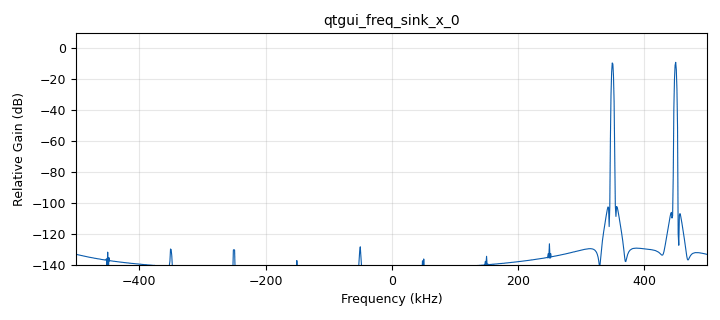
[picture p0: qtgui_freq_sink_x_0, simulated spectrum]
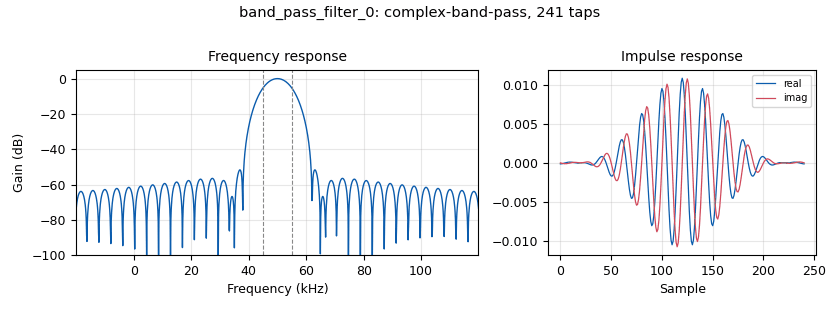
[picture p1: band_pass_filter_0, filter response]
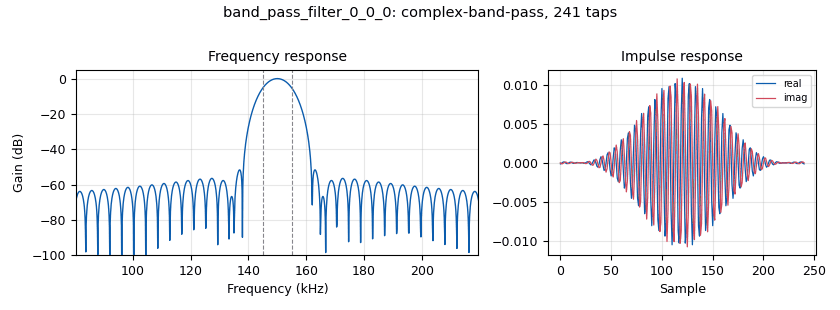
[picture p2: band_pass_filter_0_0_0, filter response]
options:
  parameters:
    generate_options: qt_gui
    id: run_double_tone_sync_test
    output_language: python
    title: Double tone phase synchronization test
  states: {}

blocks:
- name: calibrate_phase_offsets
  id: variable_qtgui_check_box
  parameters:
    'false': 'False'
    gui_hint: qtgui_tab_widget_0@0:0,0,1,1
    label: Calibrate phase offsets?
    'true': 'True'
    type: int
    value: 'True'
  states: {}
- name: center_frequency
  id: variable
  parameters:
    value: '2.45e+9'
  states: {}
- name: chan_bandwidth
  id: variable
  parameters:
    value: 200e3
  states: {}
- name: dsp_freq
  id: variable
  parameters:
    value: 550e3
  states: {}
- name: equalize_amplitudes
  id: variable_qtgui_check_box
  parameters:
    'false': 'False'
    gui_hint: qtgui_tab_widget_0@1:0,0,1,1
    label: Equalize amplitudes?
    'true': 'True'
    type: int
    value: 'False'
  states: {}
- name: master_freq
  id: variable
  parameters:
    value: 30e6
  states: {}
- name: mav_length
  id: variable
  parameters:
    value: int(1e6)
  states: {}
- name: rx_gain
  id: variable_qtgui_range
  parameters:
    orient: Qt.Horizontal
    start: '0'
    step: '1'
    stop: '76'
    value: '60'
  states: {}
- name: samp_rate
  id: variable
  parameters:
    value: int(1E+6)
  states: {}
- name: src_att
  id: variable_qtgui_range
  parameters:
    orient: Qt.Horizontal
    start: '1'
    step: '1'
    stop: '60'
    value: '20'
  states: {}
- name: target_freq
  id: variable
  parameters:
    value: 2.45e9-800e3
  states: {}
- name: tx_gain
  id: variable_qtgui_range
  parameters:
    gui_hint: qtgui_tab_widget_0@0
    orient: Qt.Horizontal
    start: '0'
    step: '0.2'
    stop: '89'
    value: '35'
  states: {}
- name: analog_const_source_x_0
  id: analog_const_source_x
  parameters:
    const: calibrate_phase_offsets
    type: byte
  states: {}
- name: analog_sig_source_x_0
  id: analog_sig_source_x
  parameters:
    amp: '1'
    freq: '350e+3'
    offset: '0'
    phase: '0'
    samp_rate: samp_rate
    type: complex
    waveform: analog.GR_COS_WAVE
  states: {}
- name: analog_sig_source_x_0_1
  id: analog_sig_source_x
  parameters:
    amp: '1'
    freq: '450e+3'
    offset: '0'
    phase: '0'
    samp_rate: samp_rate
    type: complex
    waveform: analog.GR_COS_WAVE
  states: {}
- name: aoa_calc_phase_diff_0
  id: aoa_calc_phase_diff
  parameters:
    node_idx: '1'
    norm_spacing: '0.5'
  states: {}
- name: aoa_precise_moving_average_0
  id: aoa_precise_moving_average
  parameters:
    length: mav_length
    max_iter: mav_length
  states: {}
- name: aoa_shift_phase_0
  id: aoa_shift_phase
  parameters:
    dummy_param: ''
  states: {}
- name: band_pass_filter_0
  id: band_pass_filter
  parameters:
    decim: '1'
    gain: '1'
    high_cutoff_freq: 55e3
    low_cutoff_freq: 45e3
    samp_rate: samp_rate
    type: fir_filter_ccc
    width: 10e3
    win: firdes.WIN_HAMMING
  states: {}
- name: band_pass_filter_0_0
  id: band_pass_filter
  parameters:
    decim: '1'
    gain: '1'
    high_cutoff_freq: 55e3
    low_cutoff_freq: 45e3
    samp_rate: samp_rate
    type: fir_filter_ccc
    width: 10e3
    win: firdes.WIN_HAMMING
  states: {}
- name: band_pass_filter_0_0_0
  id: band_pass_filter
  parameters:
    decim: '1'
    gain: '1'
    high_cutoff_freq: 155e3
    low_cutoff_freq: 145e3
    samp_rate: samp_rate
    type: fir_filter_ccc
    width: 10e3
    win: firdes.WIN_HAMMING
  states: {}
- name: band_pass_filter_0_0_0_0
  id: band_pass_filter
  parameters:
    decim: '1'
    gain: '1'
    high_cutoff_freq: 155e3
    low_cutoff_freq: 145e3
    samp_rate: samp_rate
    type: fir_filter_ccc
    width: 10e3
    win: firdes.WIN_HAMMING
  states: {}
- name: blocks_add_xx_0
  id: blocks_add_xx
  parameters:
    type: complex
  states: {}
- name: blocks_add_xx_1
  id: blocks_add_xx
  parameters:
    type: complex
  states: {}
- name: blocks_add_xx_1_0
  id: blocks_add_xx
  parameters:
    type: complex
  states: {}
- name: blocks_complex_to_real_0
  id: blocks_complex_to_real
  parameters: {}
  states: {}
- name: blocks_complex_to_real_0_0
  id: blocks_complex_to_real
  parameters: {}
  states: {}
- name: blocks_complex_to_real_0_0_0
  id: blocks_complex_to_real
  parameters: {}
  states: {}
- name: blocks_complex_to_real_0_2
  id: blocks_complex_to_real
  parameters: {}
  states: {}
- name: blocks_delay_0
  id: blocks_delay
  parameters:
    delay: int(samp_rate*1)
    type: complex
  states: {}
- name: blocks_null_source_0
  id: blocks_null_source
  parameters:
    type: complex
  states: {}
- name: blocks_sample_and_hold_xx_0
  id: blocks_sample_and_hold_xx
  parameters:
    type: float
  states: {}
- name: blocks_selector_0
  id: blocks_selector
  parameters:
    enabled: 'True'
    input_index: calibrate_phase_offsets
    num_inputs: '2'
    num_outputs: '1'
    output_index: '0'
    type: complex
  states: {}
- name: qtgui_freq_sink_x_0
  id: qtgui_freq_sink_x
  parameters:
    bw: samp_rate
    fc: '0'
    fftsize: '1024'
    type: complex
    wintype: firdes.WIN_BLACKMAN_hARRIS
  states: {}
- name: qtgui_freq_sink_x_1
  id: qtgui_freq_sink_x
  parameters:
    bw: samp_rate
    color1: '"green"'
    color2: '"black"'
    fc: '0'
    fftsize: '1024'
    nconnections: '2'
    type: complex
    wintype: firdes.WIN_BLACKMAN_hARRIS
  states: {}
- name: qtgui_number_sink_0
  id: qtgui_number_sink
  parameters:
    graph_type: qtgui.NUM_GRAPH_HORIZ
    gui_hint: qtgui_tab_widget_0@0:0,1,1,1
    max: '2'
    min: '-2'
    name: '"Arg corrector coeff"'
    type: float
  states: {}
- name: qtgui_tab_widget_0
  id: qtgui_tab_widget
  parameters:
    label0: Calibration
    label1: MUSIC
    num_tabs: '2'
  states: {}
- name: qtgui_time_sink_x_0
  id: qtgui_time_sink_x
  parameters:
    color1: green
    color2: black
    grid: 'True'
    gui_hint: qtgui_tab_widget_0@0:1,0,1,1
    name: '"Signals before phase correction"'
    nconnections: '2'
    size: '256'
    srate: samp_rate
    type: float
    ymax: '0.3'
    ymin: '-0.3'
  states: {}
- name: qtgui_time_sink_x_0_1
  id: qtgui_time_sink_x
  parameters:
    color1: green
    color2: black
    grid: 'True'
    gui_hint: qtgui_tab_widget_0@0:2,0,1,1
    name: '"Signals after phase correction"'
    nconnections: '2'
    size: '256'
    srate: samp_rate
    type: float
    ymax: '0.3'
    ymin: '-0.3'
  states: {}
- name: qtgui_time_sink_x_2
  id: qtgui_time_sink_x
  parameters:
    grid: 'True'
    gui_hint: qtgui_tab_widget_0@0:1,1,1,1
    name: '"Phase shift coeff"'
    size: '1024'
    srate: samp_rate
    type: float
    ymax: '2.0'
    ymin: '1.8'
  states: {}
- name: qtgui_waterfall_sink_x_0
  id: qtgui_waterfall_sink_x
  parameters:
    bw: samp_rate
    fc: center_frequency
    fftsize: '1024'
    gui_hint: qtgui_tab_widget_0@0:2,1,1,1
    nconnections: '2'
    type: complex
    wintype: firdes.WIN_BLACKMAN_hARRIS
  states: {}
- name: uhd_usrp_sink_0
  id: uhd_usrp_sink
  parameters:
    ant0: TX/RX
    ant1: TX/RX
    bw0: chan_bandwidth
    bw1: chan_bandwidth
    center_freq0: ' uhd.tune_request(target_freq, dsp_freq, dsp_freq_policy=uhd.tune_request.POLICY_MANUAL)'
    center_freq1: ' uhd.tune_request(target_freq, dsp_freq, dsp_freq_policy=uhd.tune_request.POLICY_MANUAL)'
    clock_source0: internal
    dev_args: '"master_clock_rate= %f" % master_freq'
    gain0: tx_gain
    gain1: tx_gain
    len_tag_name: ''
    nchan: '2'
    norm_gain0: 'False'
    norm_gain1: 'False'
    otw: sc16
    samp_rate: samp_rate
    sync: pc_clock
    type: fc32
  states: {}
- name: uhd_usrp_source_0
  id: uhd_usrp_source
  parameters:
    ant0: RX2
    ant1: RX2
    bw0: samp_rate
    bw1: samp_rate
    center_freq0: center_frequency
    center_freq1: center_frequency
    clock_source0: internal
    dc_offs_enb0: 'True'
    dc_offs_enb1: 'True'
    dev_args: '"master_clock_rate= %f" % master_freq'
    gain0: rx_gain
    gain1: rx_gain
    iq_imbal_enb0: 'True'
    iq_imbal_enb1: 'True'
    nchan: '2'
    norm_gain0: 'False'
    norm_gain1: 'False'
    samp_rate: samp_rate
    sync: pc_clock
    type: fc32
  states: {}

connections:
- [analog_const_source_x_0, '0', blocks_sample_and_hold_xx_0, '1']
- [analog_sig_source_x_0, '0', blocks_add_xx_0, '0']
- [analog_sig_source_x_0_1, '0', blocks_add_xx_0, '1']
- [aoa_calc_phase_diff_0, '0', aoa_precise_moving_average_0, '0']
- [aoa_precise_moving_average_0, '0', blocks_sample_and_hold_xx_0, '0']
- [aoa_precise_moving_average_0, '0', qtgui_time_sink_x_2, '0']
- [aoa_shift_phase_0, '0', blocks_complex_to_real_0_2, '0']
- [band_pass_filter_0, '0', blocks_add_xx_1, '1']
- [band_pass_filter_0_0, '0', blocks_add_xx_1_0, '0']
- [band_pass_filter_0_0_0, '0', blocks_add_xx_1, '0']
- [band_pass_filter_0_0_0_0, '0', blocks_add_xx_1_0, '1']
- [blocks_add_xx_0, '0', blocks_selector_0, '1']
- [blocks_add_xx_0, '0', qtgui_freq_sink_x_0, '0']
- [blocks_add_xx_1, '0', aoa_calc_phase_diff_0, '0']
- [blocks_add_xx_1_0, '0', aoa_calc_phase_diff_0, '1']
- [blocks_complex_to_real_0, '0', qtgui_time_sink_x_0, '0']
- [blocks_complex_to_real_0_0, '0', qtgui_time_sink_x_0, '1']
- [blocks_complex_to_real_0_0_0, '0', qtgui_time_sink_x_0_1, '0']
- [blocks_complex_to_real_0_2, '0', qtgui_time_sink_x_0_1, '1']
- [blocks_delay_0, '0', uhd_usrp_sink_0, '0']
- [blocks_null_source_0, '0', blocks_selector_0, '0']
- [blocks_null_source_0, '0', uhd_usrp_sink_0, '1']
- [blocks_sample_and_hold_xx_0, '0', aoa_shift_phase_0, '1']
- [blocks_sample_and_hold_xx_0, '0', qtgui_number_sink_0, '0']
- [blocks_selector_0, '0', blocks_delay_0, '0']
- [uhd_usrp_source_0, '0', band_pass_filter_0, '0']
- [uhd_usrp_source_0, '0', band_pass_filter_0_0_0, '0']
- [uhd_usrp_source_0, '0', blocks_complex_to_real_0, '0']
- [uhd_usrp_source_0, '0', blocks_complex_to_real_0_0_0, '0']
- [uhd_usrp_source_0, '0', qtgui_freq_sink_x_1, '0']
- [uhd_usrp_source_0, '0', qtgui_waterfall_sink_x_0, '0']
- [uhd_usrp_source_0, '1', aoa_shift_phase_0, '0']
- [uhd_usrp_source_0, '1', band_pass_filter_0_0, '0']
- [uhd_usrp_source_0, '1', band_pass_filter_0_0_0_0, '0']
- [uhd_usrp_source_0, '1', blocks_complex_to_real_0_0, '0']
- [uhd_usrp_source_0, '1', qtgui_freq_sink_x_1, '1']
- [uhd_usrp_source_0, '1', qtgui_waterfall_sink_x_0, '1']

metadata:
  file_format: 1
